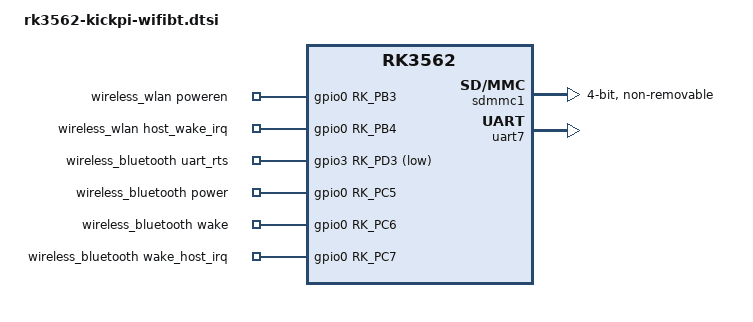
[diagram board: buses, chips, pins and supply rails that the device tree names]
/ {

	sdio_pwrseq: sdio-pwrseq {
		compatible = "mmc-pwrseq-simple";
		clocks = <&rk809 1>;
		clock-names = "ext_clock";
		pinctrl-names = "default";
		pinctrl-0 = <&wifi_enable_h>;

		/*
		 * On the module itself this is one of these (depending
		 * on the actual card populated):
		 * - SDIO_RESET_L_WL_REG_ON
		 * - PDN (power down when low)
		 */
		post-power-on-delay-ms = <200>;
	};

	wireless_wlan: wireless-wlan {
		compatible = "wlan-platdata";
		rockchip,grf = <&sys_grf>;
		wifi_chip_type = "rtl8822cs";
		WIFI,poweren_gpio = <&gpio0 RK_PB3 GPIO_ACTIVE_HIGH>;
		pinctrl-names = "default";
		pinctrl-0 = <&wifi_host_wake_irq>;
		WIFI,host_wake_irq = <&gpio0 RK_PB4 GPIO_ACTIVE_HIGH>;
		status = "okay";
	};

	wireless_bluetooth: wireless-bluetooth {
		compatible = "bluetooth-platdata";
		clocks = <&rk809 1>;
		clock-names = "ext_clock";
		uart_rts_gpios = <&gpio3 RK_PD3 GPIO_ACTIVE_LOW>;
		pinctrl-names = "default", "rts_gpio";
		pinctrl-0 = <&uart7m0_rtsn>;
		pinctrl-1 = <&uart7_gpios>;
		BT,power_gpio    = <&gpio0 RK_PC5 GPIO_ACTIVE_HIGH>;
		BT,wake_gpio     = <&gpio0 RK_PC6 GPIO_ACTIVE_HIGH>;
		BT,wake_host_irq = <&gpio0 RK_PC7 GPIO_ACTIVE_HIGH>;
		status = "okay";
	};
};
	
&sdmmc1 {
        no-sd;
        no-mmc;
        bus-width = <4>;
        disable-wp;
        cap-sd-highspeed;
        cap-sdio-irq;
        keep-power-in-suspend;
        mmc-pwrseq = <&sdio_pwrseq>;
        non-removable;
        pinctrl-names = "default";
        pinctrl-0 = <&sdmmc1_bus4 &sdmmc1_cmd &sdmmc1_clk>;
        sd-uhs-sdr104;
        status = "okay";
};

&uart7 {
        status = "okay";
        pinctrl-names = "default";
        pinctrl-0 = <&uart7m0_xfer &uart7m0_ctsn>;
};

&pinctrl {
	wireless-bluetooth {
		uart7_gpios: uart7-gpios {
			rockchip,pins = <3 RK_PD3 RK_FUNC_GPIO &pcfg_pull_none>;
		};
	};
	
	sdio-pwrseq {
		wifi_enable_h: wifi-enable-h {
			rockchip,pins = <0 RK_PB3 RK_FUNC_GPIO &pcfg_pull_up>;
		};
	};

	wireless-wlan {
		wifi_host_wake_irq: wifi-host-wake-irq {
			rockchip,pins = <0 RK_PB4 RK_FUNC_GPIO &pcfg_pull_down>;
		};
	};
};
